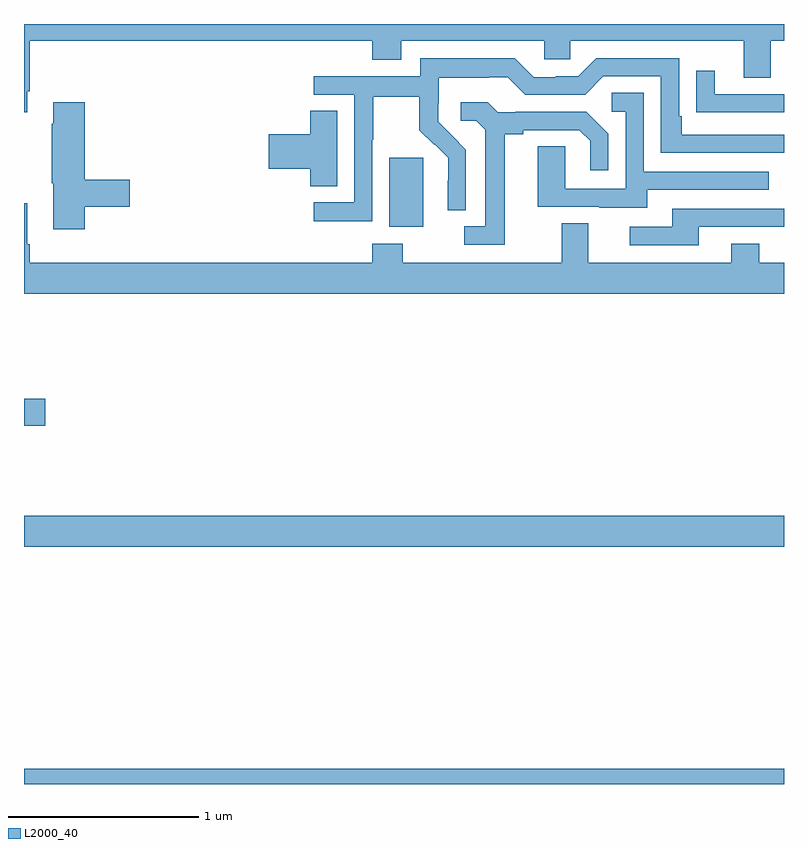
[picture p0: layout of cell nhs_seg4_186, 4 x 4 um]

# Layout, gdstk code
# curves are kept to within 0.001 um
import gdstk
lib = gdstk.Library(unit=1e-6, precision=1e-09)
def R(c, l, rs):  # rectangles x0, y0, x1, y1
    for r in rs: c.add(gdstk.rectangle(r[:2], r[2:], *l))
def P(c, l, *ps):  # polygons
    for p in ps: c.add(gdstk.Polygon(p, *l))
L2000_40 = (2000, 40)

nhs_seg4_186 = lib.new_cell('nhs_seg4_186')
R(nhs_seg4_186, L2000_40, [(119,800.9,123,800.98), (119,802.148,123,802.312), (119,802.786,119.113,802.928), (120.923,803.834,121.102,804.195)])
P(nhs_seg4_186, L2000_40, [(119.017,804.547),(119.03,804.547),(119.03,804.812),(120.833,804.812),(120.833,804.713),(120.985,804.713),(120.985,804.812),(121.737,804.812),(121.737,804.714),(121.875,804.714),(121.875,804.812),(122.789,804.812),(122.789,804.618),(122.929,804.618),(122.929,804.812),(123,804.812),(123,804.9),(119,804.9),(119,804.435),(119.017,804.435)],
  [(120.834,804.292),(120.837,804.292),(120.837,804.516),(121.081,804.516),(121.081,804.341),(121.158,804.264),(121.161,804.267),(121.232,804.197),(121.232,804.074),(121.23,804.074),(121.23,803.92),(121.326,803.92),(121.326,804.238),(121.18,804.386),(121.18,804.483),(121.182,804.483),(121.182,804.617),(121.445,804.617),(121.445,804.621),(121.545,804.621),(121.638,804.528),(121.953,804.528),(122.049,804.624),(122.352,804.624),(122.352,804.222),(123,804.222),(123,804.318),(122.461,804.318),(122.461,804.415),(122.448,804.415),(122.448,804.72),(122.013,804.72),(121.917,804.624),(121.799,804.624),(121.799,804.621),(121.683,804.621),(121.583,804.721),(121.086,804.721),(121.086,804.624),(120.525,804.624),(120.525,804.528),(120.738,804.528),(120.738,803.961),(120.525,803.961),(120.525,803.863),(120.834,803.863)],
  [(123,804.531),(122.635,804.531),(122.635,804.655),(122.539,804.655),(122.539,804.436),(122.641,804.436),(122.641,804.435),(123,804.435)],
  [(122.281,804.027),(122.921,804.027),(122.921,804.123),(122.262,804.123),(122.262,804.539),(122.094,804.539),(122.094,804.438),(122.166,804.438),(122.166,804.033),(121.848,804.033),(121.848,804.257),(121.703,804.257),(121.703,803.937),(122.027,803.937),(122.027,803.933),(122.281,803.933)],
  [(121.531,804.32),(121.627,804.32),(121.627,804.342),(121.922,804.342),(121.979,804.285),(121.979,804.129),(122.076,804.129),(122.076,804.322),(121.96,804.438),(121.588,804.438),(121.588,804.435),(121.494,804.435),(121.442,804.487),(121.299,804.487),(121.299,804.39),(121.38,804.39),(121.427,804.343),(121.427,803.835),(121.317,803.835),(121.317,803.739),(121.531,803.739)],
  [(119.321,803.938),(119.557,803.938),(119.557,804.08),(119.321,804.08),(119.321,804.487),(119.153,804.487),(119.153,804.374),(119.146,804.374),(119.146,804.063),(119.153,804.063),(119.153,803.82),(119.321,803.82)],
  [(120.649,804.443),(120.506,804.443),(120.506,804.32),(120.288,804.32),(120.288,804.137),(120.506,804.137),(120.506,804.046),(120.649,804.046)],
  [(123,803.644),(122.871,803.644),(122.871,803.743),(122.723,803.743),(122.723,803.644),(121.969,803.644),(121.969,803.852),(121.829,803.852),(121.829,803.644),(120.993,803.644),(120.993,803.743),(120.833,803.743),(120.833,803.644),(119.03,803.644),(119.03,803.74),(119.017,803.74),(119.017,803.956),(119,803.956),(119,803.48),(123,803.48)],
  [(122.551,803.832),(123,803.832),(123,803.928),(122.411,803.928),(122.411,803.832),(122.187,803.832),(122.187,803.736),(122.551,803.736)])

lib.write_gds('nhs_seg4_186.gds')
